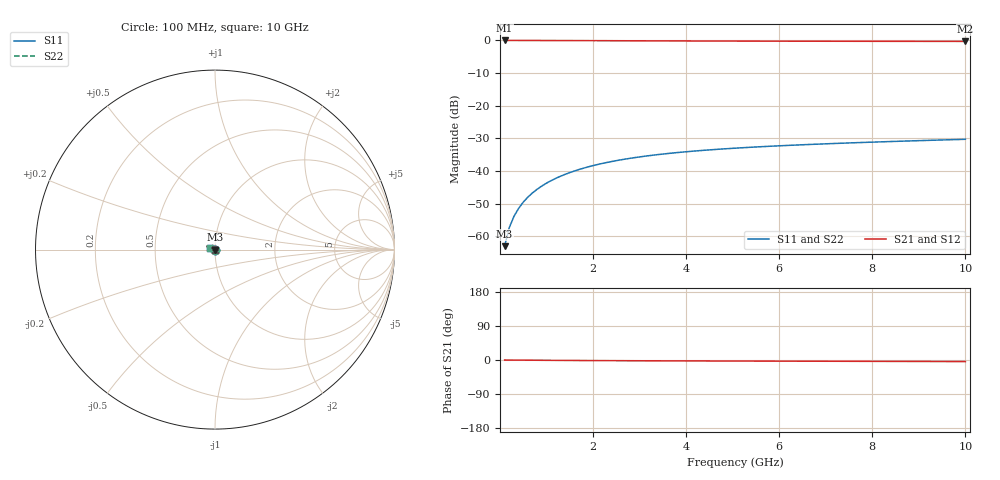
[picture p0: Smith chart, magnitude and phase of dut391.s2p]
! Touchstone file exported from HFSS 2024.1.0
!  File:  C:/UserFiles/LocalFiles/RDL_TSV_Batchsim/temp_TSV1_391_1779623791.aedt
!  Generated:  08:03:10 PM May 24, 2026
!  Design:  TSV1
!  Project:  temp_TSV1_391_1779623791
!  Setup:  Setup1
!  Solution:  Sweep
! Variables:
!  dtsv = 6.82um
!  hbump = 3um
!  htsv = 61.84um
!  lrdl = 252.1521522um
!  p = 40
!  p1 = 42.32um
!  t = 500um
!  trdl = 3um
!  wrdl = 24.89489489um
# GHz S MA R 50.000000
! Terminal data exported
! Port[1] = TSV22_T1
! Port[2] = TSV22_T2
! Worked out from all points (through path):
!   100 points, 100 MHz to 10 GHz, reference 50 ohm
!   highest |S21| = 0.00 dB at 100 MHz (marker M1); lowest = -0.3 dB at 10 GHz (marker M2)
!   lowest |S11| = -63.0 dB at 100 MHz (marker M3), VSWR 1.00, Z = 50 - j0.0666 ohm
!   |S11| at or under -10 dB: start of sweep to end of sweep
!   |S22| runs from -63.0 to -30.3 dB; largest |S21 - S12| = 2.1e-15
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0.1  0.0007093 -69.8  0.9997 -0.1  0.9997 -0.1  0.0007093 -69.8
! Gamma 0 0 0 0
! Port Impedance 50 0 50 0
0.2  0.001361 -82.1  0.9996 -0.2  0.9996 -0.2  0.001361 -82.1
0.3  0.002022 -87.7  0.9995 -0.3  0.9995 -0.3  0.002022 -87.7
0.4  0.002684 -91.4  0.9994 -0.3  0.9994 -0.3  0.002684 -91.4
0.5  0.003342 -94.3  0.9992 -0.4  0.9992 -0.4  0.003342 -94.3
0.6  0.003995 -96.9  0.9989 -0.5  0.9989 -0.5  0.003995 -96.9
0.7  0.004642 -99.2  0.9987 -0.6  0.9987 -0.6  0.004642 -99.2
0.8  0.005281 -101.3  0.9984 -0.7  0.9984 -0.7  0.005281 -101.3
0.9  0.005912 -103.4  0.998 -0.7  0.998 -0.7  0.005912 -103.4
1.1  0.007147 -107.3  0.9973 -0.9  0.9973 -0.9  0.007147 -107.3
1.4  0.008918 -112.7  0.9959 -1.1  0.9959 -1.1  0.008918 -112.7
1.6  0.01004 -116.1  0.9949 -1.2  0.9949 -1.2  0.01004 -116.2
1.8  0.01111 -119.5  0.9939 -1.4  0.9939 -1.4  0.01111 -119.5
2.1  0.01262 -124.2  0.9922 -1.6  0.9922 -1.6  0.01262 -124.2
2.5  0.01446 -130.1  0.9899 -1.8  0.9899 -1.8  0.01446 -130.1
2.9  0.0161 -135.6  0.9877 -2.0  0.9877 -2.0  0.0161 -135.6
3.4  0.01791 -141.9  0.985 -2.2  0.985 -2.2  0.01791 -141.9
4.2  0.02033 -150.8  0.9812 -2.5  0.9812 -2.5  0.02033 -150.8
5.1  0.02254 -159.5  0.9777 -2.8  0.9777 -2.8  0.02254 -159.5
6.7  0.02565 -172.3  0.973 -3.2  0.973 -3.2  0.02565 -172.3
8.4  0.02836 176.7  0.9696 -3.7  0.9696 -3.7  0.02836 176.7
10  0.03068 168.1  0.9674 -4.1  0.9674 -4.1  0.03068 168.1
